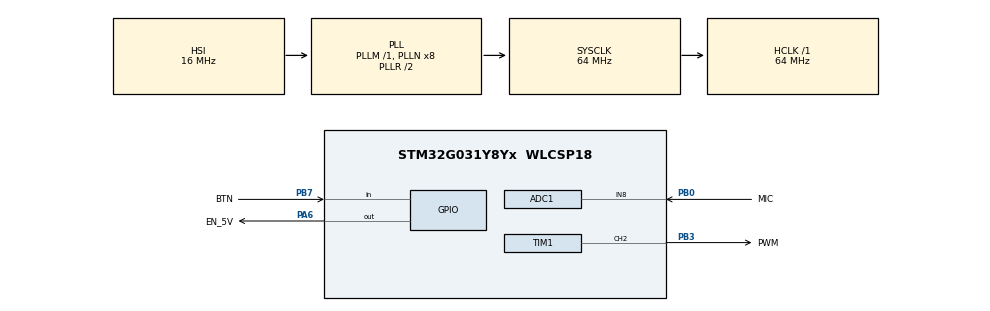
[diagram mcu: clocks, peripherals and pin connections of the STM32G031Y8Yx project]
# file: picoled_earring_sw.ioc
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ADC1.Channel-4\#ChannelRegularConversion=ADC_CHANNEL_8
ADC1.ClockPrescaler=ADC_CLOCK_SYNC_PCLK_DIV2
ADC1.ContinuousConvMode=ENABLE
ADC1.EOCSelection=ADC_EOC_SINGLE_CONV
ADC1.NbrOfConversion=1
ADC1.NbrOfConversionFlag=1
ADC1.OversamplingMode=ENABLE
ADC1.Rank-4\#ChannelRegularConversion=1
ADC1.Ratio=ADC_OVERSAMPLING_RATIO_64
ADC1.RightBitShift=ADC_RIGHTBITSHIFT_2
ADC1.SamplingTime-4\#ChannelRegularConversion=ADC_SAMPLINGTIME_COMMON_1
ADC1.SamplingTimeCommon1=ADC_SAMPLETIME_79CYCLES_5
ADC1.SelectedChannel=ADC_CHANNEL_8
ADC1.Sequencer=FULLY_CONFIGURABLE
ADC1.master=1
Dma.ADC1.1.Direction=DMA_PERIPH_TO_MEMORY
Dma.ADC1.1.EventEnable=DISABLE
Dma.ADC1.1.Instance=DMA1_Channel2
Dma.ADC1.1.MemDataAlignment=DMA_MDATAALIGN_HALFWORD
Dma.ADC1.1.MemInc=DMA_MINC_ENABLE
Dma.ADC1.1.Mode=DMA_CIRCULAR
Dma.ADC1.1.PeriphDataAlignment=DMA_PDATAALIGN_HALFWORD
Dma.ADC1.1.PeriphInc=DMA_PINC_DISABLE
Dma.ADC1.1.Polarity=HAL_DMAMUX_REQ_GEN_RISING
Dma.ADC1.1.Priority=DMA_PRIORITY_LOW
Dma.ADC1.1.RequestNumber=1
Dma.ADC1.1.SignalID=NONE
Dma.ADC1.1.SyncEnable=DISABLE
Dma.ADC1.1.SyncPolarity=HAL_DMAMUX_SYNC_NO_EVENT
Dma.ADC1.1.SyncRequestNumber=1
Dma.ADC1.1.SyncSignalID=NONE
Dma.Request0=TIM1_CH2
Dma.Request1=ADC1
Dma.TIM1_CH2.0.Direction=DMA_MEMORY_TO_PERIPH
Dma.TIM1_CH2.0.EventEnable=DISABLE
Dma.TIM1_CH2.0.Instance=DMA1_Channel1
Dma.TIM1_CH2.0.MemDataAlignment=DMA_MDATAALIGN_HALFWORD
Dma.TIM1_CH2.0.MemInc=DMA_MINC_ENABLE
Dma.TIM1_CH2.0.Mode=DMA_CIRCULAR
Dma.TIM1_CH2.0.PeriphDataAlignment=DMA_PDATAALIGN_HALFWORD
Dma.TIM1_CH2.0.PeriphInc=DMA_PINC_DISABLE
Dma.TIM1_CH2.0.Polarity=HAL_DMAMUX_REQ_GEN_RISING
Dma.TIM1_CH2.0.Priority=DMA_PRIORITY_LOW
Dma.TIM1_CH2.0.RequestNumber=1
Dma.TIM1_CH2.0.SignalID=NONE
Dma.TIM1_CH2.0.SyncEnable=DISABLE
Dma.TIM1_CH2.0.SyncPolarity=HAL_DMAMUX_SYNC_NO_EVENT
Dma.TIM1_CH2.0.SyncRequestNumber=1
Dma.TIM1_CH2.0.SyncSignalID=NONE
Mcu.Family=STM32G0
Mcu.Name=STM32G031Y8Yx
Mcu.Package=WLCSP18
NVIC.DMA1_Channel1_IRQn=true\:0\:0\:false\:false\:true\:false\:true\:true
NVIC.DMA1_Channel2_3_IRQn=true\:0\:0\:false\:false\:true\:false\:true\:true
PA13.Mode=Serial_Wire
PA13.Signal=SYS_SWDIO
PA14-BOOT0.Mode=Serial_Wire
PA14-BOOT0.Signal=SYS_SWCLK
PA14-BOOT0__PA15.StandardMode=true
PA3__PA4.StandardMode=true
PA6.GPIO_Label=EN_5V
PA6.GPIO_ModeDefaultOutputPP=GPIO_MODE_OUTPUT_OD
PA6.GPIO_PuPd=GPIO_NOPULL
PA6.GPIO_Speed=GPIO_SPEED_FREQ_VERY_HIGH
PA6.Signal=GPIO_Output
PB0.GPIO_Label=MIC
PB0.Mode=IN8
PB0.Signal=ADC1_IN8
PB0__PB1__PB2__PA8.StandardMode=true
PB3.GPIO_Label=PWM
PB3.GPIO_ModeDefaultPP=GPIO_MODE_AF_OD
PB3.GPIO_Speed=GPIO_SPEED_FREQ_VERY_HIGH
PB3.Signal=S_TIM1_CH2
PB3__PB4__PB5__PB6.StandardMode=true
PB7.GPIO_Label=BTN
PB7.GPIO_PuPd=GPIO_PULLUP
PB7.Signal=GPIO_Input
PB7__PB8.StandardMode=true
PC14-OSC32_IN\ (PC14)__PB9.StandardMode=true
PF2\ -\ NRST__PA0.StandardMode=true
ProjectManager.HeapSize=0x200
ProjectManager.StackSize=0x400
ProjectManager.TargetToolchain=STM32CubeIDE
RCC.ADCCLockSelection=RCC_ADCCLKSOURCE_PLLADC
RCC.ADCFreq_Value=4000000
RCC.AHBFreq_Value=64000000
RCC.CortexFreq_Value=64000000
RCC.EXTERNAL_CLOCK_VALUE=12288000
RCC.HCLKFreq_Value=64000000
RCC.HSE_VALUE=8000000
RCC.HSI_VALUE=16000000
RCC.LSE_VALUE=32768
RCC.PLLP=RCC_PLLP_DIV32
RCC.PLLQ=RCC_PLLQ_DIV4
RCC.SYSCLKFreq_VALUE=64000000
RCC.SYSCLKSource=RCC_SYSCLKSOURCE_PLLCLK
RCC.VCOOutputFreq_Value=128000000
RCC.VDD_VALUE=1.8
SH.S_TIM1_CH2.0=TIM1_CH2,PWM Generation2 CH2
TIM1.Channel-PWM\ Generation2\ CH2=TIM_CHANNEL_2
TIM1.ClockDivision=TIM_CLOCKDIVISION_DIV1
TIM1.OCIdleState_2=TIM_OCIDLESTATE_RESET
TIM1.OCPolarity_2=TIM_OCPOLARITY_HIGH
TIM1.Period=63
TIM1.Prescaler=1
TIM1.RepetitionCounter=0
VP_TIM1_VS_ClockSourceINT.Mode=Internal
board=custom

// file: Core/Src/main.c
/* USER CODE BEGIN Header */
/**
  ******************************************************************************
  * @file           : main.c
  * @brief          : Main program body
  ******************************************************************************
  * @attention
  *
  * Copyright (c) 2025 STMicroelectronics.
  * All rights reserved.
  *
  * This software is licensed under terms that can be found in the LICENSE file
  * in the root directory of this software component.
  * If no LICENSE file comes with this software, it is provided AS-IS.
  *
  ******************************************************************************
  */
/* USER CODE END Header */
#include "main.h"

/* USER CODE BEGIN Includes */
#include "picoconf.h"
#include "picoled.h"
#include "picodsp.h"
#include "stdlib.h"
#include "math.h"
#include "arm_math.h"
/* USER CODE END Includes */

/* USER CODE BEGIN PTD */
typedef enum led_mode{

	RANDOM_BLINK = 0,
	SLOW_COLOR_CHANGE,
	AUDIO_RESPONSE,
	END_MODE_LIST //add new mode before this enum value
} led_mode_t;
/* USER CODE END PTD */

/* USER CODE BEGIN PD */
#define BUFF_EXPONENT 9 //must be 9
#define BUFF_SIZE (1<<BUFF_EXPONENT)

#define EARRING_STATIC_BRIGHTNESS 0.05f // Value between 0 and 1 included

#define RANDOM_BLINK_BRIGHTNESS 0.4f
#define RANDOM_BLINK_TEST_PERIOD 100 // integer in millisecond
#define RANDOM_BLINK_TEST_CHANCE 54 // integer between 0 and 99 included
#define RANDOM_BLINK_FLASH_DURATION 35 // integer in millisecond

#define SLOW_COLOR_CHANGE_PERIOD 120.0f // Period in second for a full color rotation (0 to 360° on hsv wheel)
#define COLOR_CHANGE_ROLLER_STATIC_BRIGHTNESS 0.05f

#define CONFIG_SAVE_DELAY 2000

/* USER CODE END PD */

ADC_HandleTypeDef hadc1;
DMA_HandleTypeDef hdma_adc1;

TIM_HandleTypeDef htim1;
DMA_HandleTypeDef hdma_tim1_ch2;

/* USER CODE BEGIN PV */

//pled stuff
pled_color_t led_array[5] = {0};
pled_ctx_t pled_ctx;

// ADC and fft stuff
volatile uint8_t conv_complete = 1;
volatile uint16_t audio_buffer[BUFF_SIZE] = {0};
arm_rfft_fast_instance_f32 fft_s;
float32_t fft_buffer[BUFF_SIZE] = {0};
/* USER CODE END PV */

void SystemClock_Config(void);
static void MX_GPIO_Init(void);
static void MX_DMA_Init(void);
static void MX_ADC1_Init(void);
static void MX_TIM1_Init(void);

/* USER CODE BEGIN 0 */

// FSM stuff

bool debounce_button(bool button_value){

	static uint32_t last_millis = 0;
	static bool last_state = false;

	if(button_value != last_state){
		if(HAL_GetTick()-last_millis > 40){
			last_state = button_value;
		}
	}
	else{
		last_millis = HAL_GetTick();
	}

	return last_state;
}

bool falling_edge_detect(bool button_value){

	static bool last_state = false;
	bool falling_edge_detected = false;

	if(!button_value && last_state){
		falling_edge_detected = true;
	}
	last_state = button_value;

	return falling_edge_detected;
}

led_mode_t run_fsm(led_mode_t current_mode, bool do_transition){

	if(do_transition){
		current_mode++;
		if(current_mode >= END_MODE_LIST){
			current_mode = 0;
		}
	}

	return current_mode;
}

// Task per mode

void do_random_blink(pled_ctx_t* _pled_ctx){

	static uint32_t last_millis = 0;

	static pled_hsv_t hsv = {.hue = 0, .sat=1.0, .val=0.01};
	static pled_color_t black = {0};
	pled_color_t pled_color = {0};

	static uint32_t led_time_table[4] = {0};

	if(HAL_GetTick()-last_millis >= RANDOM_BLINK_TEST_PERIOD){

		//1st led is white
		hsv.sat = 0;
		hsv.val = EARRING_STATIC_BRIGHTNESS;
		hsv2pled(&hsv, &pled_color);
		pled_set(_pled_ctx, &pled_color, 0);

		hsv.sat = 1.0;
		//2 to 5 are random blink each
		for(int i = 0; i < 4; i++){

			int32_t blink = rand()%100;
			int32_t color = rand()%3;

			if(blink<=RANDOM_BLINK_TEST_CHANCE && led_time_table[i]==0){
				led_time_table[i] = HAL_GetTick();
				hsv.val = RANDOM_BLINK_BRIGHTNESS;
				hsv.hue = color*120;
				hsv2pled(&hsv, &pled_color);
				pled_set(_pled_ctx, &pled_color, i+1);
			}
		}

		last_millis = HAL_GetTick();
	}

	for(int i = 0; i<4; i++){

		if((led_time_table[i] != 0) && (HAL_GetTick()-led_time_table[i]>=RANDOM_BLINK_FLASH_DURATION)){
			pled_set(_pled_ctx, &black, i+1);
			led_time_table[i] = 0;
		}
	}

	return;
}

void do_slow_color_change(pled_ctx_t* _pled_ctx){

	static uint32_t last_millis = 0;
	static pled_hsv_t hsv = {.hue = 0.0, .sat=1.0, .val=0.01};
	pled_color_t pled_color = {0};

	static bool first_start = true;
	if(first_start){
		hsv.hue = (float)(rand()%3599)/10;
		first_start = false;
	}

	float color_increment = 360.0/(SLOW_COLOR_CHANGE_PERIOD*1000.0);

	uint32_t actual_ms = HAL_GetTick();
	if(actual_ms-last_millis >= 1){

		hsv.hue += color_increment;
		if(hsv.hue >= 360.0){
			hsv.hue = 0.0;
		}

		hsv.val = EARRING_STATIC_BRIGHTNESS;
		hsv2pled(&hsv, &pled_color);
		pled_set(_pled_ctx, &pled_color, 0);

		hsv.val = COLOR_CHANGE_ROLLER_STATIC_BRIGHTNESS;
		hsv2pled(&hsv, &pled_color);
		pled_set_array(_pled_ctx, &pled_color, 1, 4);

		last_millis = actual_ms;
	}

	return;
}

// do_audio_response() triggered callback

void HAL_ADC_ConvCpltCallback(ADC_HandleTypeDef *hadc){
	HAL_ADC_Stop_DMA(&hadc1);
	conv_complete = 1;
}

void do_audio_response(pled_ctx_t* _pled_ctx){

	static pled_hsv_t target_hsv = {.hue = 0.0, .sat=1.0, .val=0.01};
	static pled_hsv_t actual_hsv = {0};
	pled_color_t pled_color = {0};

	//ADC input stuff
	// Wait for all samples to be acquired
	if(conv_complete){

		//copy raw audio buffer to float array
		remove_dc_and_fill_float_buff((uint16_t*)audio_buffer, fft_buffer, BUFF_EXPONENT);

		uint32_t raw_audio_rms = compute_RMS_value((uint16_t*)audio_buffer, BUFF_EXPONENT);

		//re-launch acquisition
		conv_complete = 0;
		HAL_ADC_Start_DMA(&hadc1, (uint32_t*)audio_buffer, BUFF_SIZE); //This take ~50ms

		apply_hanning_window(fft_buffer, BUFF_SIZE);

		//compute fft
		arm_rfft_fast_f32(&fft_s, fft_buffer, fft_buffer, 0);
		compute_abs_fft(fft_buffer, BUFF_SIZE);

		float32_t max_val;
		uint32_t max_idx;

		find_max_windowed_bins(fft_buffer, 15, 255, 23, &max_idx, &max_val);
		target_hsv.hue = fmodf((127.1*logf((float)max_idx/15.0)+30.0),360);

		target_hsv.val = 4*0.001579*((float32_t)raw_audio_rms-9.7);

		target_hsv.val = fmaxf(0.0,fminf(target_hsv.val, 1.0));
	}

	static uint32_t last_millis = 0;
	uint32_t current_ms = HAL_GetTick();

	if(current_ms-last_millis >= 1){

		actual_hsv.hue = target_hsv.hue;
		actual_hsv.sat = target_hsv.sat;

		if(target_hsv.val >= actual_hsv.val){
			actual_hsv.val = target_hsv.val;
		}
		else{
			actual_hsv.val -= 0.75*actual_hsv.val;
			actual_hsv.val = fmaxf(actual_hsv.val, 0.0);
		}

		hsv2pled(&actual_hsv, &pled_color);
		pled_set_array(_pled_ctx, &pled_color, 1, 4);

		pled_hsv_t led0;
		memcpy(&led0, &actual_hsv, sizeof(pled_hsv_t));
		led0.val = led0.val/10.0;
		hsv2pled(&led0, &pled_color);
		pled_set(_pled_ctx, &pled_color, 0);

		last_millis = current_ms;
	}

	return;
}

/* USER CODE END 0 */

int main(void)
{

  /* MCU Configuration--------------------------------------------------------*/

  /* Reset of all peripherals, Initializes the Flash interface and the Systick. */
  HAL_Init();

  /* Configure the system clock */
  SystemClock_Config();

  /* Initialize all configured peripherals */
  MX_GPIO_Init();
  MX_DMA_Init();
  MX_ADC1_Init();
  MX_TIM1_Init();
  /* USER CODE BEGIN 2 */

  //Calibrate the ADC
  HAL_ADCEx_Calibration_Start(&hadc1);

  // Init LED output, clear the LEDs just in case and start 5V supply
  pled_init(&pled_ctx, led_array, 5);
  pled_color_t black = {0};
  pled_set_all(&pled_ctx, &black);
  pled_display(&pled_ctx);
  HAL_Delay(1);
  HAL_GPIO_WritePin(EN_5V_GPIO_Port, EN_5V_Pin, GPIO_PIN_SET);

  // Init audio buffer with real measurements
  conv_complete = 0;
  HAL_ADC_Start_DMA(&hadc1, (uint32_t*)audio_buffer, BUFF_SIZE); //This take ~50ms
  while(!conv_complete){;}

  // Init random
  srand(audio_buffer[510]);

  // Init fft config
  arm_rfft_fast_init_f32(&fft_s, BUFF_SIZE);

  // Init config flash
  picoconf_flash_init((uint64_t)END_MODE_LIST, (uint64_t)RANDOM_BLINK);
  led_mode_t current_mode = (led_mode_t)picoconf_get_conf_from_flash((uint64_t)RANDOM_BLINK);
  led_mode_t last_saved_mode = current_mode;
  uint32_t save_start_ms = 0;

  /* USER CODE END 2 */

  /* Infinite loop */
  /* USER CODE BEGIN WHILE */
  while (1)
  {

	bool button_value = debounce_button(HAL_GPIO_ReadPin(BTN_GPIO_Port, BTN_Pin));
	current_mode = run_fsm(current_mode, falling_edge_detect(button_value));

	switch (current_mode) {
		case RANDOM_BLINK:
			do_random_blink(&pled_ctx);
			break;

		case SLOW_COLOR_CHANGE:
			do_slow_color_change(&pled_ctx);
			break;

		case AUDIO_RESPONSE:
			do_audio_response(&pled_ctx);
			break;

		default:
			break;
	}

	while(pled_is_busy(&pled_ctx)){;}
	pled_display(&pled_ctx);

	// Save mode when needed
	if(current_mode != last_saved_mode){

		if(HAL_GetTick()-save_start_ms >= CONFIG_SAVE_DELAY){

			picoconf_save_conf_to_flash((uint64_t)current_mode);
			last_saved_mode = current_mode;
		}
	}
	else{
		save_start_ms = HAL_GetTick();
	}

    /* USER CODE END WHILE */

  }
}

void SystemClock_Config(void)
{
  RCC_OscInitTypeDef RCC_OscInitStruct = {0};
  RCC_ClkInitTypeDef RCC_ClkInitStruct = {0};

  /** Configure the main internal regulator output voltage
  */
  HAL_PWREx_ControlVoltageScaling(PWR_REGULATOR_VOLTAGE_SCALE1);

  /** Initializes the RCC Oscillators according to the specified parameters
  * in the RCC_OscInitTypeDef structure.
  */
  RCC_OscInitStruct.OscillatorType = RCC_OSCILLATORTYPE_HSI;
  RCC_OscInitStruct.HSIState = RCC_HSI_ON;
  RCC_OscInitStruct.HSIDiv = RCC_HSI_DIV1;
  RCC_OscInitStruct.HSICalibrationValue = RCC_HSICALIBRATION_DEFAULT;
  RCC_OscInitStruct.PLL.PLLState = RCC_PLL_ON;
  RCC_OscInitStruct.PLL.PLLSource = RCC_PLLSOURCE_HSI;
  RCC_OscInitStruct.PLL.PLLM = RCC_PLLM_DIV1;
  RCC_OscInitStruct.PLL.PLLN = 8;
  RCC_OscInitStruct.PLL.PLLP = RCC_PLLP_DIV32;
  RCC_OscInitStruct.PLL.PLLQ = RCC_PLLQ_DIV4;
  RCC_OscInitStruct.PLL.PLLR = RCC_PLLR_DIV2;
  if (HAL_RCC_OscConfig(&RCC_OscInitStruct) != HAL_OK)
  {
    Error_Handler();
  }

  /** Initializes the CPU, AHB and APB buses clocks
  */
  RCC_ClkInitStruct.ClockType = RCC_CLOCKTYPE_HCLK|RCC_CLOCKTYPE_SYSCLK
                              |RCC_CLOCKTYPE_PCLK1;
  RCC_ClkInitStruct.SYSCLKSource = RCC_SYSCLKSOURCE_PLLCLK;
  RCC_ClkInitStruct.AHBCLKDivider = RCC_SYSCLK_DIV1;
  RCC_ClkInitStruct.APB1CLKDivider = RCC_HCLK_DIV1;

  if (HAL_RCC_ClockConfig(&RCC_ClkInitStruct, FLASH_LATENCY_2) != HAL_OK)
  {
    Error_Handler();
  }
}

static void MX_ADC1_Init(void)
{

  ADC_ChannelConfTypeDef sConfig = {0};

  /** Configure the global features of the ADC (Clock, Resolution, Data Alignment and number of conversion)
  */
  hadc1.Instance = ADC1;
  hadc1.Init.ClockPrescaler = ADC_CLOCK_SYNC_PCLK_DIV2;
  hadc1.Init.Resolution = ADC_RESOLUTION_12B;
  hadc1.Init.DataAlign = ADC_DATAALIGN_RIGHT;
  hadc1.Init.ScanConvMode = ADC_SCAN_DISABLE;
  hadc1.Init.EOCSelection = ADC_EOC_SINGLE_CONV;
  hadc1.Init.LowPowerAutoWait = DISABLE;
  hadc1.Init.LowPowerAutoPowerOff = DISABLE;
  hadc1.Init.ContinuousConvMode = ENABLE;
  hadc1.Init.NbrOfConversion = 1;
  hadc1.Init.ExternalTrigConv = ADC_SOFTWARE_START;
  hadc1.Init.ExternalTrigConvEdge = ADC_EXTERNALTRIGCONVEDGE_NONE;
  hadc1.Init.DMAContinuousRequests = DISABLE;
  hadc1.Init.Overrun = ADC_OVR_DATA_PRESERVED;
  hadc1.Init.SamplingTimeCommon1 = ADC_SAMPLETIME_79CYCLES_5;
  hadc1.Init.SamplingTimeCommon2 = ADC_SAMPLETIME_1CYCLE_5;
  hadc1.Init.OversamplingMode = ENABLE;
  hadc1.Init.Oversampling.Ratio = ADC_OVERSAMPLING_RATIO_64;
  hadc1.Init.Oversampling.RightBitShift = ADC_RIGHTBITSHIFT_2;
  hadc1.Init.Oversampling.TriggeredMode = ADC_TRIGGEREDMODE_SINGLE_TRIGGER;
  hadc1.Init.TriggerFrequencyMode = ADC_TRIGGER_FREQ_HIGH;
  if (HAL_ADC_Init(&hadc1) != HAL_OK)
  {
    Error_Handler();
  }

  /** Configure Regular Channel
  */
  sConfig.Channel = ADC_CHANNEL_8;
  sConfig.Rank = ADC_REGULAR_RANK_1;
  sConfig.SamplingTime = ADC_SAMPLINGTIME_COMMON_1;
  if (HAL_ADC_ConfigChannel(&hadc1, &sConfig) != HAL_OK)
  {
    Error_Handler();
  }

}

static void MX_TIM1_Init(void)
{

  TIM_ClockConfigTypeDef sClockSourceConfig = {0};
  TIM_MasterConfigTypeDef sMasterConfig = {0};
  TIM_OC_InitTypeDef sConfigOC = {0};
  TIM_BreakDeadTimeConfigTypeDef sBreakDeadTimeConfig = {0};

  htim1.Instance = TIM1;
  htim1.Init.Prescaler = 1;
  htim1.Init.CounterMode = TIM_COUNTERMODE_UP;
  htim1.Init.Period = 63;
  htim1.Init.ClockDivision = TIM_CLOCKDIVISION_DIV1;
  htim1.Init.RepetitionCounter = 0;
  htim1.Init.AutoReloadPreload = TIM_AUTORELOAD_PRELOAD_DISABLE;
  if (HAL_TIM_Base_Init(&htim1) != HAL_OK)
  {
    Error_Handler();
  }
  sClockSourceConfig.ClockSource = TIM_CLOCKSOURCE_INTERNAL;
  if (HAL_TIM_ConfigClockSource(&htim1, &sClockSourceConfig) != HAL_OK)
  {
    Error_Handler();
  }
  if (HAL_TIM_PWM_Init(&htim1) != HAL_OK)
  {
    Error_Handler();
  }
  sMasterConfig.MasterOutputTrigger = TIM_TRGO_RESET;
  sMasterConfig.MasterOutputTrigger2 = TIM_TRGO2_RESET;
  sMasterConfig.MasterSlaveMode = TIM_MASTERSLAVEMODE_DISABLE;
  if (HAL_TIMEx_MasterConfigSynchronization(&htim1, &sMasterConfig) != HAL_OK)
  {
    Error_Handler();
  }
  sConfigOC.OCMode = TIM_OCMODE_PWM1;
  sConfigOC.Pulse = 0;
  sConfigOC.OCPolarity = TIM_OCPOLARITY_HIGH;
  sConfigOC.OCNPolarity = TIM_OCNPOLARITY_HIGH;
  sConfigOC.OCFastMode = TIM_OCFAST_DISABLE;
  sConfigOC.OCIdleState = TIM_OCIDLESTATE_RESET;
  sConfigOC.OCNIdleState = TIM_OCNIDLESTATE_RESET;
  if (HAL_TIM_PWM_ConfigChannel(&htim1, &sConfigOC, TIM_CHANNEL_2) != HAL_OK)
  {
    Error_Handler();
  }
  sBreakDeadTimeConfig.OffStateRunMode = TIM_OSSR_DISABLE;
  sBreakDeadTimeConfig.OffStateIDLEMode = TIM_OSSI_DISABLE;
  sBreakDeadTimeConfig.LockLevel = TIM_LOCKLEVEL_OFF;
  sBreakDeadTimeConfig.DeadTime = 0;
  sBreakDeadTimeConfig.BreakState = TIM_BREAK_DISABLE;
  sBreakDeadTimeConfig.BreakPolarity = TIM_BREAKPOLARITY_HIGH;
  sBreakDeadTimeConfig.BreakFilter = 0;
  sBreakDeadTimeConfig.BreakAFMode = TIM_BREAK_AFMODE_INPUT;
  sBreakDeadTimeConfig.Break2State = TIM_BREAK2_DISABLE;
  sBreakDeadTimeConfig.Break2Polarity = TIM_BREAK2POLARITY_HIGH;
  sBreakDeadTimeConfig.Break2Filter = 0;
  sBreakDeadTimeConfig.Break2AFMode = TIM_BREAK_AFMODE_INPUT;
  sBreakDeadTimeConfig.AutomaticOutput = TIM_AUTOMATICOUTPUT_DISABLE;
  if (HAL_TIMEx_ConfigBreakDeadTime(&htim1, &sBreakDeadTimeConfig) != HAL_OK)
  {
    Error_Handler();
  }
  HAL_TIM_MspPostInit(&htim1);

}

static void MX_DMA_Init(void)
{

  /* DMA controller clock enable */
  __HAL_RCC_DMA1_CLK_ENABLE();

  /* DMA interrupt init */
  /* DMA1_Channel1_IRQn interrupt configuration */
  HAL_NVIC_SetPriority(DMA1_Channel1_IRQn, 0, 0);
  HAL_NVIC_EnableIRQ(DMA1_Channel1_IRQn);
  /* DMA1_Channel2_3_IRQn interrupt configuration */
  HAL_NVIC_SetPriority(DMA1_Channel2_3_IRQn, 0, 0);
  HAL_NVIC_EnableIRQ(DMA1_Channel2_3_IRQn);

}

static void MX_GPIO_Init(void)
{
  GPIO_InitTypeDef GPIO_InitStruct = {0};

  /* GPIO Ports Clock Enable */
  __HAL_RCC_GPIOA_CLK_ENABLE();
  __HAL_RCC_GPIOB_CLK_ENABLE();

  /*Configure GPIO pin Output Level */
  HAL_GPIO_WritePin(EN_5V_GPIO_Port, EN_5V_Pin, GPIO_PIN_RESET);

  /*Configure GPIO pin : BTN_Pin */
  GPIO_InitStruct.Pin = BTN_Pin;
  GPIO_InitStruct.Mode = GPIO_MODE_INPUT;
  GPIO_InitStruct.Pull = GPIO_PULLUP;
  HAL_GPIO_Init(BTN_GPIO_Port, &GPIO_InitStruct);

  /*Configure GPIO pin : EN_5V_Pin */
  GPIO_InitStruct.Pin = EN_5V_Pin;
  GPIO_InitStruct.Mode = GPIO_MODE_OUTPUT_OD;
  GPIO_InitStruct.Pull = GPIO_NOPULL;
  GPIO_InitStruct.Speed = GPIO_SPEED_FREQ_VERY_HIGH;
  HAL_GPIO_Init(EN_5V_GPIO_Port, &GPIO_InitStruct);

}

void Error_Handler(void)
{
  __disable_irq();
  while (1)
  {
  }
}
